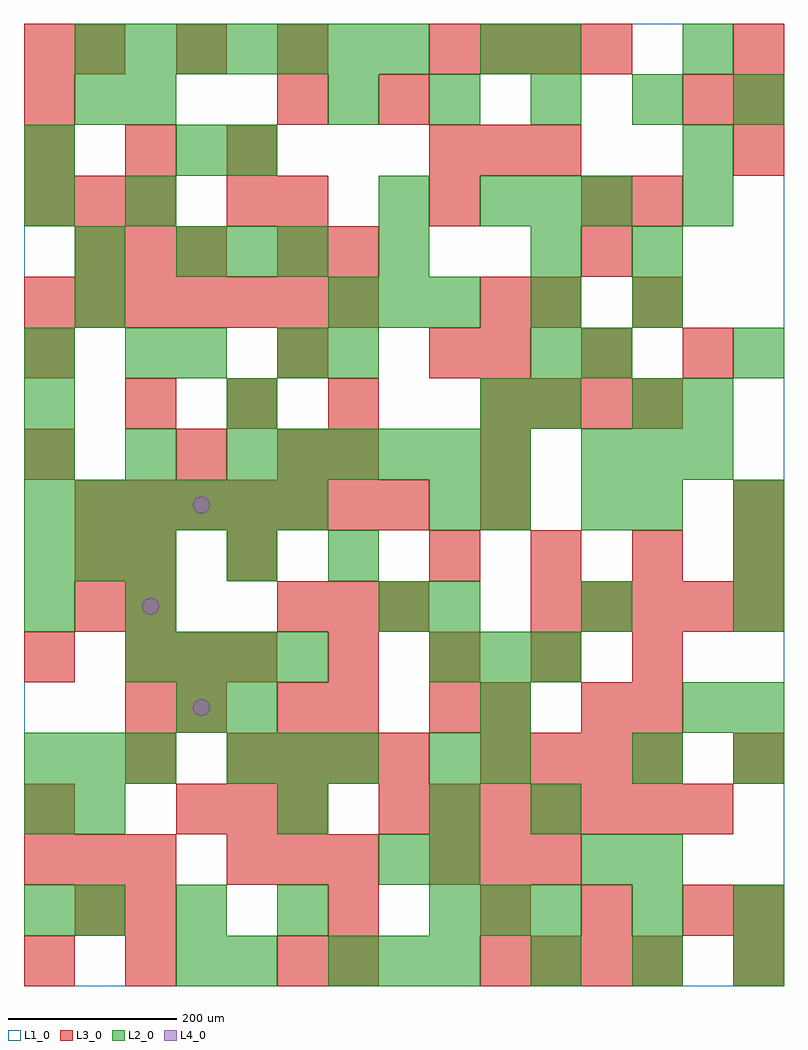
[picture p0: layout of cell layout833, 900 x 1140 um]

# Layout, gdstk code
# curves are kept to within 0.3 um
import gdstk
lib = gdstk.Library(unit=1e-6, precision=1e-09)
def R(c, l, rs):  # rectangles x0, y0, x1, y1
    for r in rs: c.add(gdstk.rectangle(r[:2], r[2:], *l))
def A(c, l, x, y, w, h, nx, ny, dx, dy):  # array of equal rectangles
    R(c, l, [(x+i*dx, y+j*dy, x+i*dx+w, y+j*dy+h) for i in range(nx) for j in range(ny)])
def P(c, l, *ps):  # polygons
    for p in ps: c.add(gdstk.Polygon(p, *l))
L1_0 = (1, 0)
L2_0 = (2, 0)
L3_0 = (3, 0)
L4_0 = (4, 0)

layout833 = lib.new_cell('layout833')
R(layout833, L1_0, [(0,0,900,1140)])
A(layout833, L2_0, 360, 0, 60, 60, 3, 2, 60, 780)
A(layout833, L2_0, 600, 0, 60, 60, 3, 1, 120, 0)
A(layout833, L2_0, 60, 60, 60, 60, 3, 1, 120, 0)
A(layout833, L2_0, 480, 60, 60, 60, 3, 2, 60, 300)
A(layout833, L2_0, 480, 120, 60, 60, 1, 3, 0, 60)
A(layout833, L2_0, 0, 180, 60, 60, 1, 3, 0, 240)
A(layout833, L2_0, 0, 240, 60, 60, 3, 2, 60, 240)
A(layout833, L2_0, 240, 240, 60, 60, 3, 1, 60, 0)
A(layout833, L2_0, 240, 300, 60, 60, 1, 3, 0, 180)
A(layout833, L2_0, 120, 360, 60, 60, 4, 1, 60, 0)
A(layout833, L2_0, 480, 420, 60, 60, 3, 1, 180, 0)
A(layout833, L2_0, 0, 540, 60, 60, 6, 1, 60, 0)
A(layout833, L2_0, 720, 540, 60, 60, 1, 3, 0, 120)
A(layout833, L2_0, 0, 600, 60, 60, 3, 1, 120, 0)
A(layout833, L2_0, 300, 600, 60, 60, 5, 1, 60, 0)
A(layout833, L2_0, 660, 600, 60, 60, 3, 1, 60, 0)
A(layout833, L2_0, 600, 660, 60, 60, 1, 4, 0, 60)
A(layout833, L2_0, 180, 840, 60, 60, 3, 1, 60, 0)
A(layout833, L2_0, 540, 900, 60, 60, 3, 1, 60, 0)
A(layout833, L2_0, 360, 1020, 60, 60, 5, 1, 120, 0)
A(layout833, L2_0, 60, 1080, 60, 60, 7, 1, 60, 0)
R(layout833, L2_0, [(180,0,240,60), (240,0,300,60), (0,60,60,120), (720,60,780,120), (840,60,900,120), (420,120,480,180), (660,120,720,180), (720,120,780,180), (60,180,120,240), (300,180,360,240), (600,180,660,240), (540,240,600,300), (720,240,780,300), (840,240,900,300), (180,300,240,360), (540,300,600,360), (780,300,840,360), (840,300,900,360), (120,420,180,480), (420,420,480,480), (360,480,420,540), (840,480,900,540), (480,540,540,600), (540,540,600,600), (660,540,720,600), (840,540,900,600), (540,660,600,720), (780,660,840,720), (0,720,60,780), (120,720,180,780), (180,720,240,780), (300,720,360,780), (360,720,420,780), (660,720,720,780), (840,720,900,780), (60,780,120,840), (60,840,120,900), (420,840,480,900), (720,840,780,900), (0,900,60,960), (120,900,180,960), (420,900,480,960), (780,900,840,960), (0,960,60,1020), (180,960,240,1020), (240,960,300,1020), (780,960,840,1020), (60,1020,120,1080), (120,1020,180,1080), (540,1080,600,1140), (600,1080,660,1140), (780,1080,840,1140)])
A(layout833, L3_0, 0, 0, 60, 60, 1, 3, 0, 180)
A(layout833, L3_0, 300, 0, 60, 60, 1, 3, 0, 300)
A(layout833, L3_0, 540, 0, 60, 60, 4, 2, 60, 240)
A(layout833, L3_0, 540, 60, 60, 60, 3, 2, 120, 660)
A(layout833, L3_0, 0, 120, 60, 60, 3, 2, 60, 780)
A(layout833, L3_0, 240, 120, 60, 60, 3, 1, 60, 0)
A(layout833, L3_0, 480, 120, 60, 60, 3, 2, 60, 840)
A(layout833, L3_0, 180, 180, 60, 60, 3, 1, 60, 0)
A(layout833, L3_0, 420, 180, 60, 60, 7, 1, 60, 0)
A(layout833, L3_0, 240, 240, 60, 60, 4, 1, 60, 0)
A(layout833, L3_0, 120, 360, 60, 60, 3, 1, 60, 0)
A(layout833, L3_0, 360, 360, 60, 60, 4, 1, 120, 0)
A(layout833, L3_0, 300, 420, 60, 60, 3, 1, 60, 0)
A(layout833, L3_0, 600, 420, 60, 60, 5, 1, 60, 0)
A(layout833, L3_0, 480, 480, 60, 60, 4, 1, 120, 0)
A(layout833, L3_0, 60, 540, 60, 60, 7, 1, 60, 0)
A(layout833, L3_0, 120, 660, 60, 60, 3, 1, 120, 0)
A(layout833, L3_0, 540, 660, 60, 60, 4, 1, 60, 0)
A(layout833, L3_0, 0, 780, 60, 60, 7, 1, 60, 0)
A(layout833, L3_0, 60, 840, 60, 60, 3, 1, 60, 0)
A(layout833, L3_0, 300, 900, 60, 60, 3, 1, 180, 0)
A(layout833, L3_0, 0, 960, 60, 60, 3, 1, 120, 0)
A(layout833, L3_0, 840, 960, 60, 60, 1, 3, 0, 60)
A(layout833, L3_0, 60, 1080, 60, 60, 3, 1, 120, 0)
A(layout833, L3_0, 480, 1080, 60, 60, 4, 1, 60, 0)
R(layout833, L3_0, [(120,0,180,60), (360,0,420,60), (840,0,900,60), (60,60,120,120), (120,60,180,120), (360,60,420,120), (840,60,900,120), (120,240,180,300), (840,240,900,300), (120,300,180,360), (180,300,240,360), (360,300,420,360), (480,300,540,360), (540,300,600,360), (660,300,720,360), (720,300,780,360), (60,420,120,480), (120,420,180,480), (60,480,120,540), (120,480,180,540), (240,480,300,540), (540,540,600,600), (840,540,900,600), (0,600,60,660), (180,600,240,660), (360,600,420,660), (540,600,600,660), (0,720,60,780), (300,720,360,780), (480,720,540,780), (540,780,600,840), (600,780,660,840), (720,780,780,840), (300,840,360,900), (360,840,420,900), (660,840,720,900), (240,900,300,960), (720,900,780,960), (0,1020,60,1080), (300,1020,360,1080), (420,1020,480,1080), (780,1020,840,1080), (0,1080,60,1140)])
P(layout833, L4_0, [(160,450),(159.239,453.827),(157.071,457.071),(153.827,459.239),(150,460),(146.173,459.239),(142.929,457.071),(140.761,453.827),(140,450),(140.761,446.173),(142.929,442.929),(146.173,440.761),(150,440),(153.827,440.761),(157.071,442.929),(159.239,446.173)],
  [(220,330),(219.239,333.827),(217.071,337.071),(213.827,339.239),(210,340),(206.173,339.239),(202.929,337.071),(200.761,333.827),(200,330),(200.761,326.173),(202.929,322.929),(206.173,320.761),(210,320),(213.827,320.761),(217.071,322.929),(219.239,326.173)],
  [(220,570),(219.239,573.827),(217.071,577.071),(213.827,579.239),(210,580),(206.173,579.239),(202.929,577.071),(200.761,573.827),(200,570),(200.761,566.173),(202.929,562.929),(206.173,560.761),(210,560),(213.827,560.761),(217.071,562.929),(219.239,566.173)])

lib.write_gds('layout833.gds')
